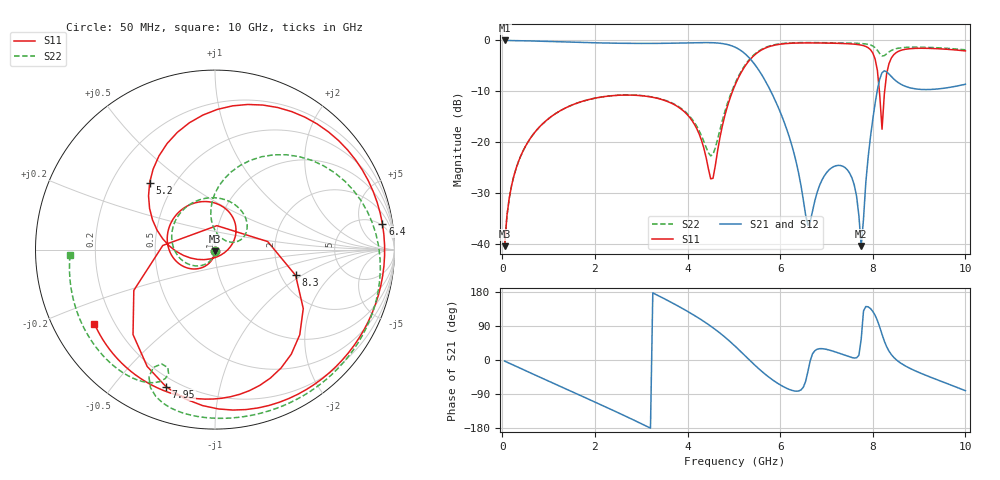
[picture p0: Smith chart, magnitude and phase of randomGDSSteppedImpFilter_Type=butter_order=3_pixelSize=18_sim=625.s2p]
! freq	dB(S11)	phase(S11)	dB(S12)	phase(S12)
!  dB(S21)	phase(S21)	dB(S22)	phase(S22)
!S-par simulation data
#  GHz  S  DB  R 50
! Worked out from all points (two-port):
!   200 points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, 50 MHz to 10 GHz, reference 50 ohm
!   highest |S21| = -0.01 dB at 50 MHz (marker M1); lowest = -40.4 dB at 7.75 GHz (marker M2)
!   |S21| within 3 dB of the highest: start of sweep to 5.286 GHz
!   lowest |S11| = -40.5 dB at 50 MHz (marker M3), VSWR 1.02, Z = 50 - j0.945 ohm
!   |S11| at or under -10 dB: start of sweep to 4.973 GHz; 8.143 GHz to 8.257 GHz (114 MHz wide, 1.39 % of centre)
!   |S22| runs from -40.5 to -0.4 dB; largest |S21 - S12| = 0
!   S11 on the Smith chart (normalised r, x): 50 MHz: 1.00, -0.02; 5.2 GHz: 0.36, +0.37; 6.4 GHz: 4, +11; 7.95 GHz: 0.16, -0.69; 8.3 GHz: 2.40, -0.89; 10 GHz: 0.13, -0.28
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0.05  -40.48 -91.5  -0.01 -2.9  -0.01 -2.9  -40.49 -92.2
0.2  -28.58 -100.1  -0.02 -11.3  -0.02 -11.3  -28.60 -102.3
0.5  -20.84 -115.8  -0.07 -28.0  -0.07 -28.0  -20.85 -121.2
1.75  -11.93 -178.2  -0.40 -97.2  -0.40 -97.2  -11.93 162.2
3.4  -11.51 94.9  -0.58 167.9  -0.58 167.9  -11.46 60.4
4.1  -15.81 43.7  -0.46 121.1  -0.46 121.1  -15.51 22.6
4.5  -27.24 -48.0  -0.44 89.4  -0.44 89.4  -22.71 51.9
5.05  -8.28 154.6  -1.44 33.9  -1.44 33.9  -7.98 82.4
5.2  -5.66 134.3  -2.31 16.3  -2.31 16.3  -5.44 68.5
5.7  -1.43 71.7  -8.30 -39.9  -8.30 -39.9  -1.32 18.3
6.4  -0.50 8.7  -26.17 -81.7  -26.17 -81.7  -0.43 -32.9
6.7  -0.49 -12.3  -33.55 16.5  -33.55 16.5  -0.42 -49.4
7.4  -0.62 -56.8  -25.01 12.4  -25.01 12.4  -0.50 -82.2
7.6  -0.73 -70.9  -28.44 5.3  -28.44 5.3  -0.55 -91.1
7.75  -0.92 -83.6  -40.43 54.9  -40.43 54.9  -0.61 -98.1
7.95  -1.82 -109.6  -19.00 135.9  -19.00 135.9  -0.89 -108.9
8.1  -5.92 -153.3  -9.69 104.2  -9.69 104.2  -1.94 -117.4
8.2  -17.47 85.6  -6.35 67.6  -6.35 67.6  -3.06 -115.0
8.3  -6.53 -17.7  -6.19 35.0  -6.19 35.0  -2.64 -110.5
8.35  -4.56 -33.7  -6.62 23.5  -6.62 23.5  -2.27 -111.1
8.85  -1.59 -90.7  -9.42 -24.9  -9.42 -24.9  -1.32 -131.0
10  -2.06 -148.4  -8.62 -81.0  -8.62 -81.0  -1.85 -177.8
